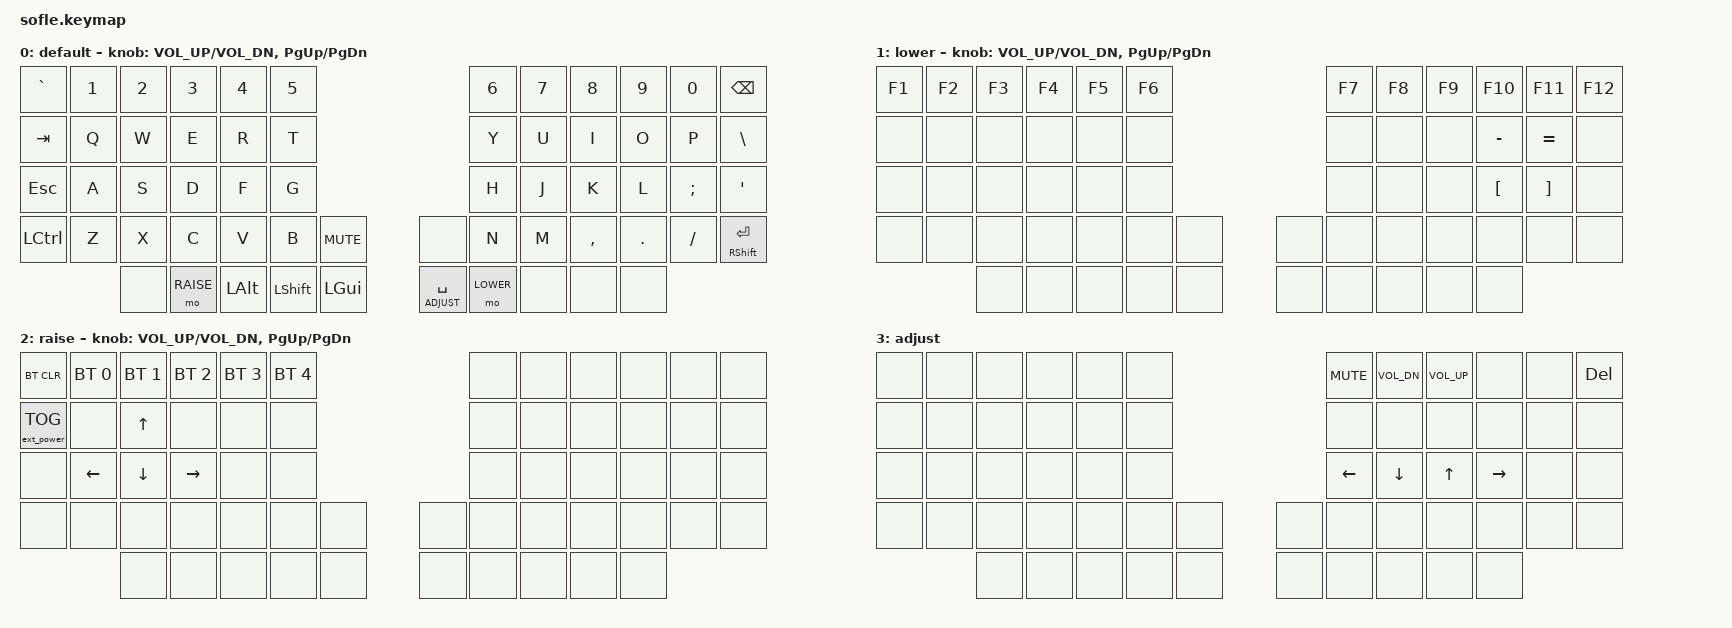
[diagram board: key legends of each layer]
/*
 * Copyright (c) 2020 The ZMK Contributors
 *
 * SPDX-License-Identifier: MIT
 */

#include <behaviors.dtsi>
#include <dt-bindings/zmk/keys.h>
#include <dt-bindings/zmk/bt.h>
#include <dt-bindings/zmk/rgb.h>
#include <dt-bindings/zmk/ext_power.h>

#define BASE 0
#define LOWER 1
#define RAISE 2
#define ADJUST 3

/ {

    keymap {
        compatible = "zmk,keymap";

        default_layer {
            display-name = "default";
// ------------------------------------------------------------------------------------------------------------
// |   `   |  1  |  2  |  3   |  4   |  5   |                   |  6   |  7    |  8    |  9   |   0   |       |
// |  TAB  |  Q  |  W  |  E   |  R   |  T   |                   |  Y   |  U    |  I    |  O   |   P   | BKSPC |
// |  ESC  |  A  |  S  |  D   |  F   |  G   |                   |  H   |  J    |  K    |  L   |   ;   |   '   |
// | SHIFT |  Z  |  X  |  C   |  V   |  B   |  MUTE  |  |       |  N   |  M    |  ,    |  .   |   /   | SHIFT |
//               | GUI | ALT  | CTRL | LOWER|  ENTER |  | SPACE | RAISE| CTRL  | ALT   | GUI  |
            bindings = <
&kp GRAVE &kp N1 &kp N2   &kp N3     &kp N4    &kp N5                                    &kp N6      &kp N7    &kp N8    &kp N9   &kp N0   &kp BSPC
&kp TAB   &kp Q  &kp W    &kp E      &kp R     &kp T                                     &kp Y       &kp U     &kp I     &kp O    &kp P    &kp BSLH
&kp ESC   &kp A  &kp S    &kp D      &kp F     &kp G                                     &kp H       &kp J     &kp K     &kp L    &kp SEMI &kp SQT
&kp LCTRL &kp Z  &kp X    &kp C      &kp V     &kp B     &kp C_MUTE               &none  &kp N       &kp M     &kp COMMA &kp DOT  &kp FSLH &mt RSHIFT RET
                 &none    &mo RAISE  &kp LALT  &kp LSHFT &kp LGUI      &lt ADJUST SPACE  &mo LOWER   &none  &none  &none
            >;

            sensor-bindings = <&inc_dec_kp C_VOL_UP C_VOL_DN &inc_dec_kp PG_UP PG_DN>;
        };

        lower_layer {
            display-name = "lower";
// TODO: Some binds are waiting for shifted keycode support.
// ------------------------------------------------------------------------------------------------------------
// |       |  F1 |  F2 |  F3  |  F4  |  F5  |                   |  F6  |  F7   |  F8   |  F9  |  F10  |  F11  |
// |   `   |  1  |  2  |  3   |  4   |  5   |                   |  6   |  7    |  8    |  9   |   0   |  F12  |
// |       |  !  |  @  |  #   |  $   |  %   |                   |  ^   |  &    |  *    |  (   |   )   |   |   |
// |       |  =  |  -  |  +   |  {   |  }   |        |  |       |  [   |  ]    |  ;    |  :   |   \   |       |
//               |     |      |      |      |        |  |       |      |       |       |      |
            bindings = <
&kp F1    &kp F2    &kp F3      &kp F4    &kp F5    &kp F6                      &kp F7    &kp F8   &kp F9    &kp F10   &kp F11    &kp F12
&none     &none     &none     &none       &none     &none                       &none     &none    &none     &kp MINUS    &kp EQUAL     &none 
&none     &none     &none     &none       &none     &none                       &none     &none    &none     &kp LBKT     &kp RBKT      &none 
&none     &none     &none     &none       &none     &none    &none      &none   &none     &none    &none     &none     &none      &none 
                    &none     &none       &none     &none    &none      &none   &none     &none    &none     &none 
            >;

            sensor-bindings = <&inc_dec_kp C_VOL_UP C_VOL_DN &inc_dec_kp PG_UP PG_DN>;
        };

        raise_layer {
            display-name = "raise";
// ------------------------------------------------------------------------------------------------------------
// | BTCLR | BT1  | BT2  |  BT3  |  BT4  |  BT5 |                |      |      |       |      |       |       |
// |       | INS  | PSCR | GUI   |       |      |                | PGUP |      |   ^   |      |       |       |
// |       | ALT  | CTRL | SHIFT |       | CAPS |                | PGDN |   <- |   v   |  ->  |  DEL  | BKSPC |
// |       | UNDO | CUT  | COPY  | PASTE |      |      |  |      |      |      |       |      |       |       |
//                |      |       |       |      |      |  |      |      |      |       |      |
            bindings = <
&bt BT_CLR          &bt BT_SEL 0    &bt BT_SEL 1    &bt BT_SEL 2    &bt BT_SEL 3    &bt BT_SEL 4    &none     &none    &none     &none     &none      &none 
&ext_power EP_TOG   &none     &kp UP    &none       &none     &none                                 &none     &none    &none     &none     &none      &none 
&none               &kp LEFT  &kp DOWN  &kp RIGHT   &none     &none                                 &none     &none    &none     &none     &none      &none 
&none               &none     &none     &none       &none     &none    &none                &none   &none     &none    &none     &none     &none      &none 
                              &none     &none       &none     &none    &none                &none   &none     &none    &none     &none 
            >;

            sensor-bindings = <&inc_dec_kp C_VOL_UP C_VOL_DN &inc_dec_kp PG_UP PG_DN>;
        };

        adjust_layer {
// ----------------------------------------------------------------------------------------------------------------------------
// | BTCLR  |  BT1    |  BT2    |   BT3   |   BT4   |   BT5   |                  |      |      |       |      |       |       |
// | EXTPWR | RGB_HUD | RGB_HUI | RGB_SAD | RGB_SAI | RGB_EFF |                  |      |      |       |      |       |       |
// |        | RGB_BRD | RGB_BRI |         |         |         |                  |      |      |       |      |       |       |
// |        |         |         |         |         |         | RGB_TOG | |      |      |      |       |      |       |       |
//                    |         |         |         |         |         | |      |      |      |       |      |
            display-name = "adjust";
            bindings = <
&none        &none           &none           &none           &none           &none                   &kp C_MUTE &kp C_VOL_DN &kp C_VOL_UP &none     &none &kp DEL
&none        &none           &none           &none           &none           &none                   &none      &none        &none        &none     &none &none
&none        &none           &none           &none           &none           &none                   &kp LEFT   &kp DOWN     &kp UP       &kp RIGHT &none &none
&none        &none           &none           &none           &none           &none  &none     &none  &none      &none        &none        &none     &none &none
                             &none           &none           &none           &none  &none     &none  &none      &none        &none        &none
            >;
        };

    };
};
